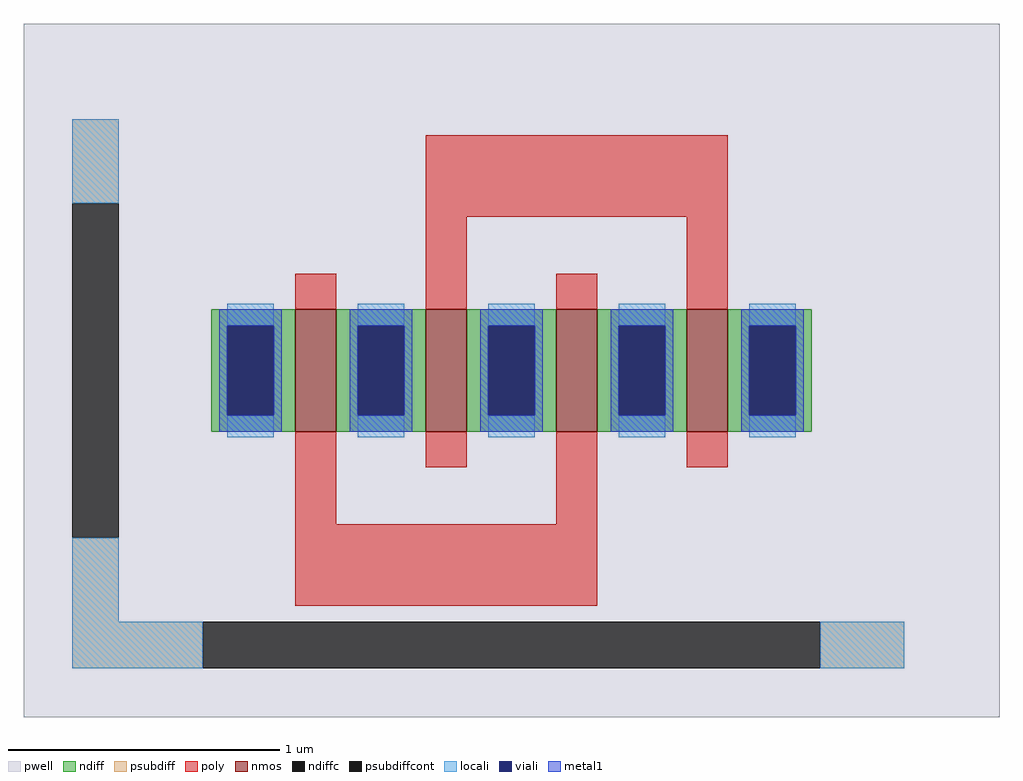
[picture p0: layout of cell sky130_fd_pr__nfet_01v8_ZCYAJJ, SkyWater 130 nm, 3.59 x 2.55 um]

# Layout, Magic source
magic
tech sky130A
magscale 1 2
<< pwell >>
rect -359 -255 359 255
<< nmos >>
rect -159 -45 -129 45
rect -63 -45 -33 45
rect 33 -45 63 45
rect 129 -45 159 45
<< ndiff >>
rect -221 33 -159 45
rect -221 -33 -209 33
rect -175 -33 -159 33
rect -221 -45 -159 -33
rect -129 33 -63 45
rect -129 -33 -113 33
rect -79 -33 -63 33
rect -129 -45 -63 -33
rect -33 33 33 45
rect -33 -33 -17 33
rect 17 -33 33 33
rect -33 -45 33 -33
rect 63 33 129 45
rect 63 -33 79 33
rect 113 -33 129 33
rect 63 -45 129 -33
rect 159 33 221 45
rect 159 -33 175 33
rect 209 -33 221 33
rect 159 -45 221 -33
<< ndiffc >>
rect -209 -33 -175 33
rect -113 -33 -79 33
rect -17 -33 17 33
rect 79 -33 113 33
rect 175 -33 209 33
<< psubdiff >>
rect -323 123 -289 185
rect -323 -185 -289 -123
rect -323 -219 -227 -185
rect 227 -219 289 -185
<< psubdiffcont >>
rect -323 -123 -289 123
rect -227 -219 227 -185
<< poly >>
rect -63 113 159 173
rect -159 45 -129 71
rect -63 45 -33 113
rect 33 45 63 71
rect 129 45 159 113
rect -159 -113 -129 -45
rect -63 -71 -33 -45
rect 33 -113 63 -45
rect 129 -71 159 -45
rect -159 -173 63 -113
<< locali >>
rect -323 123 -289 185
rect -209 33 -175 49
rect -209 -49 -175 -33
rect -113 33 -79 49
rect -113 -49 -79 -33
rect -17 33 17 49
rect -17 -49 17 -33
rect 79 33 113 49
rect 79 -49 113 -33
rect 175 33 209 49
rect 175 -49 209 -33
rect -323 -185 -289 -123
rect -323 -219 -227 -185
rect 227 -219 289 -185
<< viali >>
rect -209 -33 -175 33
rect -113 -33 -79 33
rect -17 -33 17 33
rect 79 -33 113 33
rect 175 -33 209 33
<< metal1 >>
rect -215 33 -169 45
rect -215 -33 -209 33
rect -175 -33 -169 33
rect -215 -45 -169 -33
rect -119 33 -73 45
rect -119 -33 -113 33
rect -79 -33 -73 33
rect -119 -45 -73 -33
rect -23 33 23 45
rect -23 -33 -17 33
rect 17 -33 23 33
rect -23 -45 23 -33
rect 73 33 119 45
rect 73 -33 79 33
rect 113 -33 119 33
rect 73 -45 119 -33
rect 169 33 215 45
rect 169 -33 175 33
rect 209 -33 215 33
rect 169 -45 215 -33
<< properties >>
string gencell sky130_fd_pr__nfet_01v8
string FIXED_BBOX -306 -202 306 202
string parameters w 0.45 l 0.150 m 1 nf 4 diffcov 100 polycov 100 guard 1 glc 1 grc 1 gtc 0 gbc 1 tbcov 100 rlcov 100 topc 1 botc 1 poverlap 0 doverlap 1 lmin 0.15 wmin 0.42 compatible {sky130_fd_pr__nfet_01v8 sky130_fd_pr__nfet_01v8_lvt  sky130_fd_bs_flash__special_sonosfet_star  sky130_fd_pr__nfet_g5v0d10v5 sky130_fd_pr__nfet_05v0_nvt  sky130_fd_pr__nfet_03v3_nvt} full_metal 1 viasrc 100 viadrn 100 viagate 100 viagb 0 viagr 0 viagl 0 viagt 0
string library sky130
<< end >>
